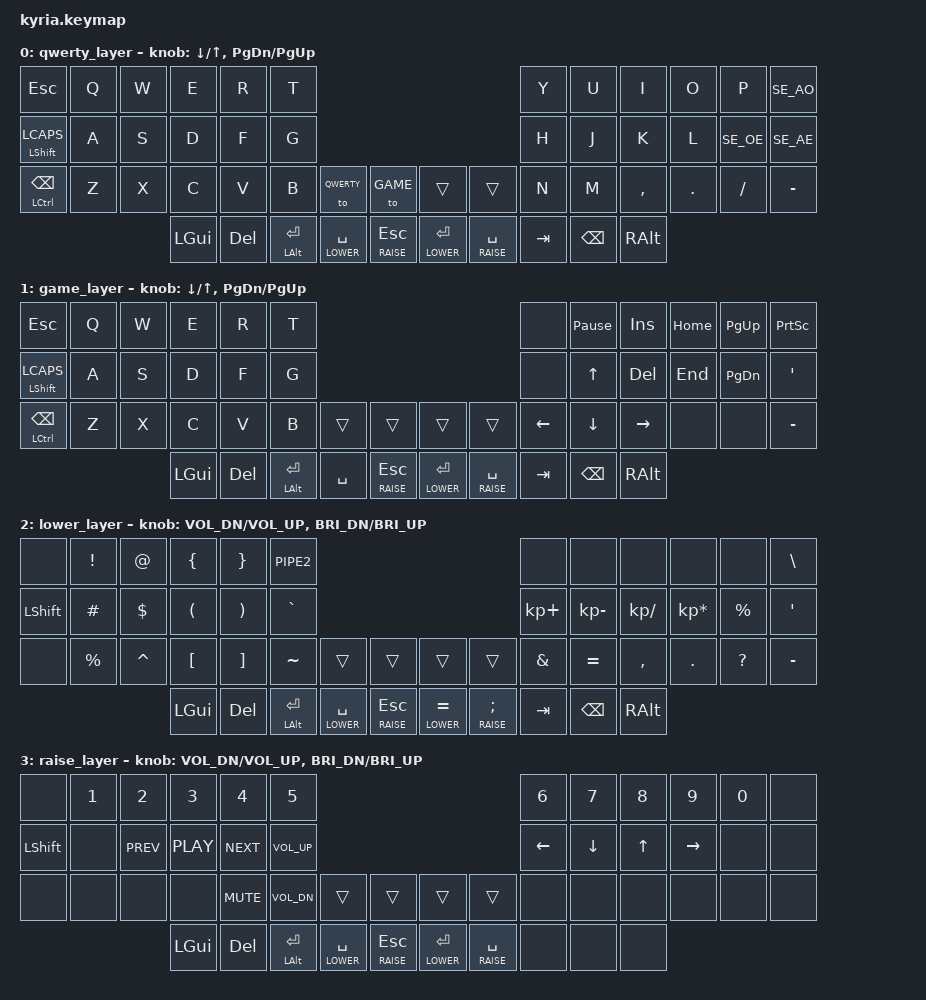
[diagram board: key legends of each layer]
/*
 * Copyright (c) 2020 The ZMK Contributors
 *
 * SPDX-License-Identifier: MIT
 */

#include <behaviors.dtsi>
#include <dt-bindings/zmk/keys.h>
#include <dt-bindings/zmk/rgb.h>
#inlucde "swedish_keys.h"

#define QWERTY  0
#define GAME	1
#define LOWER   2
#define RAISE   3



/ {

	keymap {
		compatible = "zmk,keymap";
/*
 * Base Layer: QWERTY 
 *
 * ,-------------------------------------------.							  ,-------------------------------------------.
 * |RAIS/ESC|   Q  |   W  |   E  |   R  |   T  |							  |   Y  |   U  |   I  |   O  |   P  |  | \   |
 * |--------+------+------+------+------+------|							  |------+------+------+------+------+--------|
 * | LShift |   A  |   S  |  D   |   F  |   G  |							  |   H  |   J  |   K  |   L  | ;  : |  ' "   |
 * |--------+------+------+------+------+------+-------------.  ,-------------+------+------+------+------+------+--------|
 * | Ctrl/BS|   Z  |   X  |   C  |   V  |   B  |DVORAK|QWERTY|  | GAME |ADJUST|   N  |   M  | ,  < | . >  |    ? |  - _   |
 * `----------------------+------+------+------+------+------|  |------+------+------+------+------+----------------------'
 *						  | GUI  | Del  | Enter| Space| Esc  |  | Enter| Space| Tab  | Bksp | AltGr|
 *						  |      |      | Alt  | Lower| Raise|  | Lower| Raise|      |      |      |
 *						  `----------------------------------'  `----------------------------------'
 */
		qwerty_layer {	
			bindings = <
	&kp ESC   		&kp Q	&kp W	&kp E 		&kp R 	&kp T                                                						 &kp Y 	  	&kp U		&kp I 	  &kp O 	&kp P		&kp SE_AO
	&mt LSHFT LCAPS &kp A 	&kp S  	&kp D 		&kp F 	&kp G                                                						 &kp H 	  	&kp J		&kp K 	  &kp L 	&kp SE_OE  	&kp SE_AE
	&mt LCTL BSPC	&kp Z 	&kp X  	&kp C 		&kp V 	&kp B 	 	 &to QWERTY 	 &to GAME  	 &trans  	&trans 	                 &kp N 	  	&kp M		&kp COMMA &kp DOT 	&kp FSLH   	&kp MINUS
	                 				&kp LGUI	&kp DEL &mt LALT RET &lt LOWER SPACE &lt RAISE ESC 	 &lt LOWER RET  &lt RAISE SPACE	 &kp TAB  	&kp BSPC  	&kp RALT
	        >;

			sensor-bindings = <&inc_dec_kp DOWN UP &inc_dec_kp PG_DN PG_UP>;
		};

 		game_layer {
 /* 
  * Base Layer: GAME
  *
  * ,-------------------------------------------.							   ,-------------------------------------------.
  * |RAIS/ESC|   Q  |   W  |   E  |   R  |   T  |							   |      | paus |insert| home | pgup |printscreen|
  * |--------+------+------+------+------+------|							   |------+------+------+------+------+--------|
  * | LShift |   A  |   S  |  D   |   F  |   G  |							   |      |   ^  |delete|  end | pgdn |  Plus  |
  * |--------+------+------+------+------+------+-------------.  ,-------------+------+------+------+------+------+--------|
  * | Ctrl/BS|   Z  |   X  |   C  |   V  |   B  |DVORAK|QWERTY|  | GAME |ADJUST| <--  |   v  | -->  |      |      | Minus  |
  * `----------------------+------+------+------+------+------|  |------+------+------+------+------+----------------------'
  *						   | GUI  | Tab  | Enter| Space| Esc  |  | Enter| Space| Tab  | Bksp | AltGr|
  *						   |      |      | Alt  | Lower| Raise|  | Lower| Raise|      |      |      |
  *						   `----------------------------------'  `----------------------------------'
  */
 						bindings = <
 	&kp ESC   		&kp Q	&kp W	 &kp E 		&kp R 		&kp T                                                	   					&none	  &kp PAUSE_BREAK  	&kp INS    &kp HOME  &kp PG_UP	&kp PSCRN
 	&mt LSHFT LCAPS &kp A 	&kp S    &kp D 		&kp F 		&kp G                                                	   					&none 	  &kp UP    	   	&kp DEL    &kp END	 &kp PG_DN 	&kp SQT
 	&mt LCTL BSPC	&kp Z 	&kp X    &kp C 		&kp V 		&kp B 		 &trans 	 &trans  	 &trans  	&trans 	&kp LEFT  &kp DOWN  	   	&kp RIGHT  &none 	 &none   	&kp MINUS
 	        	                 	 &kp LGUI   &kp DEL 	&mt LALT RET &kp SPACE &lt RAISE ESC 	 &lt LOWER RET  &lt RAISE SPACE	&kp TAB   &kp BSPC  	   	&kp RALT
 			>;

 			sensor-bindings = <&inc_dec_kp DOWN UP &inc_dec_kp PG_DN PG_UP>;
 		};

 		lower_layer {
 /* 
  * Lower Layer: Symbols 
  * 
  * ,-------------------------------------------.							   ,-------------------------------------------.
  * |        |  !   |  @   |  {   |  }   |  |   |							   |      |      |      |      |      |  | \   |
  * |--------+------+------+------+------+------|							   |------+------+------+------+------+--------|
  * |        |  #   |  $   |  (   |  )   |  `   |							   |   +  |  -   |  /   |  *   |  %   |  ' "   |
  * |--------+------+------+------+------+------+-------------.  ,-------------+------+------+------+------+------+--------|
  * |        |  %   |  ^   |  [   |  ]   |  ~   |DVORAK|QWERTY|  | GAME |ADJUST|   &  |  =   |  ,   |  .   |    ? | - _    |
  * `----------------------+------+------+------+------+------|  |------+------+------+------+------+----------------------'
  *						   | GUI  | Tab  | Enter| Space| Esc  |  | 	=   |   ;  | Tab  | Bksp | AltGr|
  *						   |      |      | Alt  | Lower| Raise|  | Lower| Raise|      |      |      |
  *						   `----------------------------------'  `----------------------------------'
  */
 						bindings = <
 	&none     &kp EXCL  &kp AT	  &kp LBRC	&kp RBRC 	&kp PIPE2                                              						&none	  	&none	     &none    		&none  	 		 &none		&kp BSLH
 	&kp LSHFT &kp HASH  &kp DLLR  &kp LPAR	&kp RPAR	&kp GRAVE                                              						&kp KP_PLUS &kp KP_MINUS &kp KP_SLASH 	&kp KP_ASTERISK	 &kp PRCNT 	&kp SQT
 	&none     &kp PRCNT &kp CARET &kp LBKT	&kp RBKT	&kp TILDE 	 &trans 	 &trans  	 &trans  	&trans 	&kp AMPS  	&kp EQUAL  	 &kp COMMA  	&kp DOT 	 	 &kp QMARK  &kp MINUS
 	        	     		   	  &kp LGUI  &kp DEL 	&mt LALT RET &lt LOWER SPACE &lt RAISE ESC 	 &lt LOWER EQUAL  &lt RAISE SEMI &kp TAB		&kp BSPC  	 &kp RALT
 			>;

 			sensor-bindings = <&inc_dec_kp C_VOL_DN C_VOL_UP &inc_dec_kp C_BRI_DN C_BRI_UP>;
 		};

 		raise_layer {
 /*
  * Raise Layer: Number keys, media, navigation
  *
  * ,-------------------------------------------.							   ,-------------------------------------------.
  * |        |   1  |  2   |  3   |  4   |  5   |							   |  6   |  7   |  8   |  9   |  0   |        |
  * |--------+------+------+------+------+------|							   |------+------+------+------+------+--------|
  * |        |      | Prev | Play | Next | VolUp|							   | Left | Down | Up   | Right|      |        |
  * |--------+------+------+------+------+------+-------------.  ,-------------+------+------+------+------+------+--------|
  * |        |      |      |      | Mute | VolDn|DVORAK|QWERTY|  | GAME |ADJUST| MLeft| Mdown| MUp  |MRight|      |        |
  * `----------------------+------+------+------+------+------|  |------+------+------+------+------+----------------------'
  *						   |      |      |      | Space| Esc  |  | 	=   |   ;  |      |      |      |
  *						   |      |      |      | Lower| Raise|  | Lower| Raise|      |      |      |
  *						   `----------------------------------'  `----------------------------------'
  */
 			bindings = <
 	&none  	  &kp N1 &kp N2	    &kp N3		&kp N4 		&kp N5                                              						&kp N6		&kp N7     	&kp N8  &kp N9 	 	&kp N0		&none
 	&kp LSHFT &none	 &kp C_PREV &kp C_PLAY	&kp C_NEXT	&kp C_VOL_UP                                              					&kp LEFT  	&kp DOWN	&kp UP	&kp RIGHT	&none	 	&none
 	&none  	  &none	 &none		&none		&kp C_MUTE	&kp C_VOL_DN &trans 	 &trans  	 &trans  	&trans 	&none	  	&none	  	&none	&none 	 	&none   	&none
 	        	     		    &kp LGUI  &kp DEL   &mt LALT RET &lt LOWER SPACE &lt RAISE ESC 	 &lt LOWER RET  &lt RAISE SPACE &none		&none	  	&none
 			>;

 			sensor-bindings = <&inc_dec_kp C_VOL_DN C_VOL_UP &inc_dec_kp C_BRI_DN C_BRI_UP>;
 		};

	};
};
